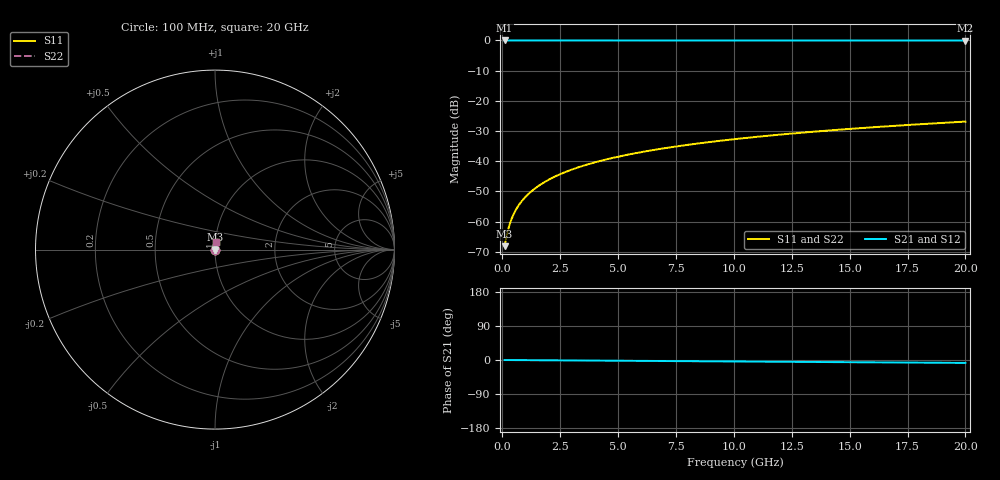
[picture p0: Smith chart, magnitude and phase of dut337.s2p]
! Touchstone file exported from HFSS 2026.1.0
!  File:  C:/ffzhzh/LocalFiles/Ansys_Project_Files/temp_train_TSV_337_1783018715_55676.aedt
!  Generated:  03:01:13 AM Jul  3, 2026
!  Design:  TSV
!  Project:  temp_train_TSV_337_1783018715_55676
! Variables:
!  h_bsmrdl = 2um
!  h_ox = 20um
!  h_rdl = 5um
!  h_sub = 71.62um
!  h_tmrdl = 5um
!  h_tsv = 71.62um
!  h_via = 3um
!  l_bsmrdl = 300um
!  l_sub = 411.46um
!  l_tmrdl = 200um
!  m_sub = 200um
!  pitch = 37.25um
!  r_tsv = 5.73um
!  s_tmrdl = 10um
!  w_bsmrdl = 18um
!  w_sub = 500um
!  w_tmrdl = 12um
!  x_tsv_center1 = 206um
!  x_tsv_center2 = 524um
!  x_tsv_center3 = 736um
!  x_tsv_center4 = 1054um
!  x_tsv_center5 = 1266um
!  x_tsv_center6 = 1584um
# GHz S MA R 50.000000
! Terminal data exported
! Port[1] = TSV1_1_T1
! Port[2] = TSV1_1_T2
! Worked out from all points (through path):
!   200 points, 100 MHz to 20 GHz, reference 50 ohm
!   highest |S21| = 0.00 dB at 100 MHz (marker M1); lowest = 0.0 dB at 20 GHz (marker M2)
!   group delay of S21, straight-line fit = 1.07 ps
!   lowest |S11| = -68.1 dB at 100 MHz (marker M3), VSWR 1.00, Z = 50 + j0.0268 ohm
!   |S11| at or under -10 dB: start of sweep to end of sweep
!   |S22| runs from -68.1 to -26.9 dB; largest |S21 - S12| = 4.5e-15
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0.1  0.0003913 43.3  0.9997 -0.0  0.9997 -0.0  0.0003913 43.3
! Gamma 0 0 0 0
! Port Impedance 50 0 50 0
0.2  0.0006105 61.1  0.9997 -0.1  0.9997 -0.1  0.0006105 61.1
0.3  0.0008549 68.6  0.9997 -0.1  0.9997 -0.1  0.0008549 68.6
0.4  0.001104 72.6  0.9997 -0.2  0.9997 -0.2  0.001104 72.6
0.5  0.001352 74.9  0.9997 -0.2  0.9997 -0.2  0.001352 74.9
0.6  0.001598 76.5  0.9996 -0.2  0.9996 -0.2  0.001598 76.5
0.7  0.001841 77.6  0.9996 -0.3  0.9996 -0.3  0.001841 77.6
0.8  0.002082 78.5  0.9996 -0.3  0.9996 -0.3  0.002082 78.5
1  0.00256 79.8  0.9996 -0.4  0.9996 -0.4  0.00256 79.8
1.4  0.003507 81.4  0.9995 -0.6  0.9995 -0.6  0.003507 81.4
1.7  0.004215 82.2  0.9995 -0.7  0.9995 -0.7  0.004215 82.2
2  0.004921 82.7  0.9994 -0.8  0.9994 -0.8  0.004921 82.7
2.7  0.006561 83.4  0.9993 -1.1  0.9993 -1.1  0.006561 83.4
3.5  0.00842 83.7  0.9992 -1.4  0.9992 -1.4  0.00842 83.7
4.2  0.01003 83.8  0.9992 -1.6  0.9992 -1.6  0.01003 83.8
5  0.01186 83.8  0.9991 -2.0  0.9991 -2.0  0.01186 83.8
6.8  0.01594 83.6  0.9988 -2.6  0.9988 -2.6  0.01594 83.6
8.3  0.01931 83.4  0.9987 -3.2  0.9987 -3.2  0.01931 83.4
10.1  0.02335 83.0  0.9985 -3.9  0.9985 -3.9  0.02335 83.0
13.4  0.03071 82.1  0.9981 -5.2  0.9981 -5.2  0.03071 82.1
16.7  0.03802 81.1  0.9977 -6.4  0.9977 -6.4  0.03802 81.1
20  0.04527 80.1  0.9972 -7.7  0.9972 -7.7  0.04527 80.1
